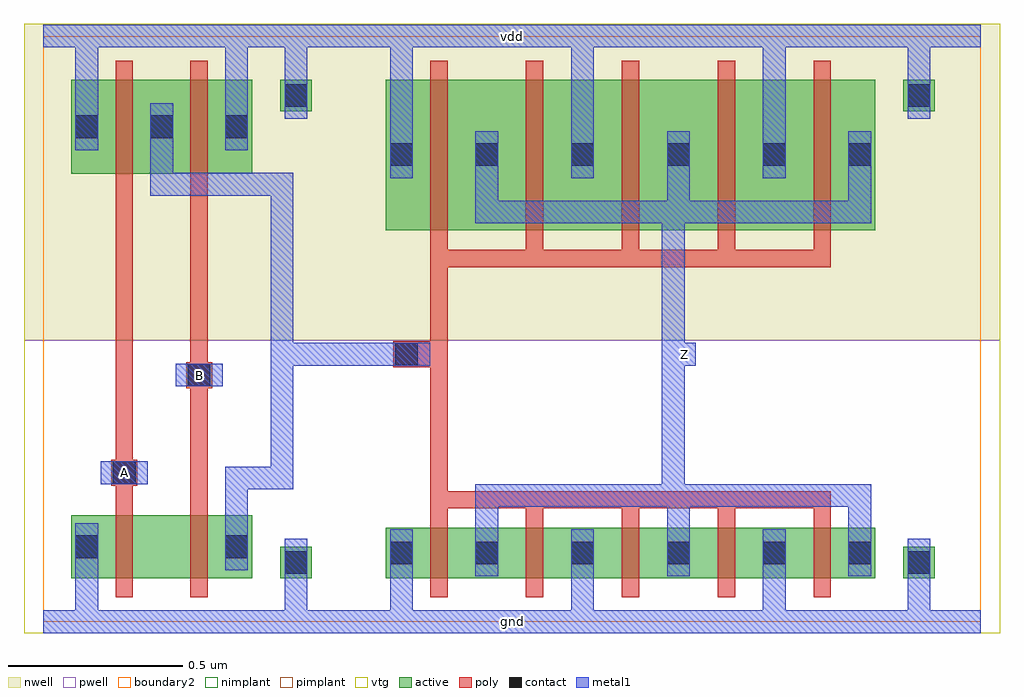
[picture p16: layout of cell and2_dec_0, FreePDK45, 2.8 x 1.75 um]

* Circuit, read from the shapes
.subckt and2_dec_0 A B Z gnd vdd
M1 pnand2_0/nmos_m1_w0_180_sm1_dactive_2/D A gnd gnd nfet w=0.18u l=0.05u
M2 pinv_0_1/A B pnand2_0/nmos_m1_w0_180_sm1_dactive_2/D gnd nfet w=0.18u l=0.05u
M3 Z pinv_0_1/A gnd gnd nfet w=0.145u l=0.05u m=5
M4 pinv_0_1/A A vdd vdd pfet w=0.27u l=0.05u
M5 vdd B pinv_0_1/A vdd pfet w=0.27u l=0.05u
M6 Z pinv_0_1/A vdd vdd pfet w=0.4325u l=0.05u m=5
.ends

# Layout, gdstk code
import gdstk
lib = gdstk.Library(unit=1e-6, precision=5e-10)
def R(c, l, rs):  # rectangles x0, y0, x1, y1
    for r in rs: c.add(gdstk.rectangle(r[:2], r[2:], *l))
def A(c, l, x, y, w, h, nx, ny, dx, dy):  # array of equal rectangles
    R(c, l, [(x+i*dx, y+j*dy, x+i*dx+w, y+j*dy+h) for i in range(nx) for j in range(ny)])
active = (1, 0)
pwell = (2, 0)
nwell = (3, 0)
nimplant = (4, 0)
pimplant = (5, 0)
vtg = (6, 0)
poly = (9, 0)
contact = (10, 0)
metal1 = (11, 0)
boundary2 = (239, 0)

contact_10 = lib.new_cell('contact_10')
R(contact_10, active, [(0,0.0225,0.09,0.1125)])
R(contact_10, nwell, [(-0.055,-0.0325,0.145,0.1675)])
R(contact_10, pimplant, [(0,0.0225,0.09,0.1125)])
R(contact_10, contact, [(0.0125,0.035,0.0775,0.1)])
R(contact_10, metal1, [(0.0125,0,0.0775,0.135)])
R(contact_10, boundary2, [(-0.055,-0.0325,0.145,0.1675)])

pmos_m1_w0_270_sm1_dm1 = lib.new_cell('pmos_m1_w0_270_sm1_dm1')
R(pmos_m1_w0_270_sm1_dm1, active, [(0,0,0.305,0.27)])
R(pmos_m1_w0_270_sm1_dm1, nwell, [(-0.08,-0.08,0.385,0.35)])
R(pmos_m1_w0_270_sm1_dm1, pimplant, [(0,0,0.305,0.27)])
R(pmos_m1_w0_270_sm1_dm1, vtg, [(-0.08,-0.08,0.385,0.35)])
R(pmos_m1_w0_270_sm1_dm1, poly, [(0.1275,-0.055,0.1775,0.325), (0.1275,-0.055,0.1775,0.325)])
R(pmos_m1_w0_270_sm1_dm1, metal1, [(0.0125,0.0675,0.0775,0.2025), (0.2275,0.0675,0.2925,0.2025)])
R(pmos_m1_w0_270_sm1_dm1, boundary2, [(-0.08,-0.08,0.385,0.35)])
pmos_m1_w0_270_sm1_dm1.add(gdstk.Reference(contact_10, (0,0.0675)))
pmos_m1_w0_270_sm1_dm1.add(gdstk.Reference(contact_10, (0.215,0.0675)))
pmos_m1_w0_270_sm1_dm1.add(gdstk.Label('G', (0.1525,0.135), layer=9, texttype=0))
pmos_m1_w0_270_sm1_dm1.add(gdstk.Label('S', (0.045,0.135), layer=11, texttype=0))
pmos_m1_w0_270_sm1_dm1.add(gdstk.Label('D', (0.26,0.135), layer=11, texttype=0))

contact_9 = lib.new_cell('contact_9')
R(contact_9, active, [(0,0.0225,0.09,0.1125)])
R(contact_9, pwell, [(-0.055,-0.0325,0.145,0.1675)])
R(contact_9, nimplant, [(0,0.0225,0.09,0.1125)])
R(contact_9, contact, [(0.0125,0.035,0.0775,0.1)])
R(contact_9, metal1, [(0.0125,0,0.0775,0.135)])
R(contact_9, boundary2, [(-0.055,-0.0325,0.145,0.1675)])

nmos_m1_w0_180_sm1_dacti = lib.new_cell('nmos_m1_w0_180_sm1_dactive')
R(nmos_m1_w0_180_sm1_dacti, active, [(0,0,0.305,0.18), (0.215,0.045,0.305,0.135)])
R(nmos_m1_w0_180_sm1_dacti, pwell, [(-0.08,-0.08,0.385,0.26)])
R(nmos_m1_w0_180_sm1_dacti, nimplant, [(0,0,0.305,0.18)])
R(nmos_m1_w0_180_sm1_dacti, vtg, [(-0.08,-0.08,0.385,0.26)])
R(nmos_m1_w0_180_sm1_dacti, poly, [(0.1275,-0.055,0.1775,0.235), (0.1275,-0.055,0.1775,0.235)])
R(nmos_m1_w0_180_sm1_dacti, metal1, [(0.0125,0.0225,0.0775,0.1575)])
R(nmos_m1_w0_180_sm1_dacti, boundary2, [(-0.08,-0.08,0.385,0.26)])
nmos_m1_w0_180_sm1_dacti.add(gdstk.Reference(contact_9, (0,0.0225)))
nmos_m1_w0_180_sm1_dacti.add(gdstk.Label('G', (0.1525,0.09), layer=9, texttype=0))
nmos_m1_w0_180_sm1_dacti.add(gdstk.Label('S', (0.045,0.09), layer=11, texttype=0))
nmos_m1_w0_180_sm1_dacti.add(gdstk.Label('D', (0.26,0.09), layer=1, texttype=0))

nmos_m1_w0_180_sactive_d = lib.new_cell('nmos_m1_w0_180_sactive_dm1')
R(nmos_m1_w0_180_sactive_d, active, [(0,0,0.305,0.18), (0,0.045,0.09,0.135)])
R(nmos_m1_w0_180_sactive_d, pwell, [(-0.08,-0.08,0.385,0.26)])
R(nmos_m1_w0_180_sactive_d, nimplant, [(0,0,0.305,0.18)])
R(nmos_m1_w0_180_sactive_d, vtg, [(-0.08,-0.08,0.385,0.26)])
R(nmos_m1_w0_180_sactive_d, poly, [(0.1275,-0.055,0.1775,0.235), (0.1275,-0.055,0.1775,0.235)])
R(nmos_m1_w0_180_sactive_d, metal1, [(0.2275,0.0225,0.2925,0.1575)])
R(nmos_m1_w0_180_sactive_d, boundary2, [(-0.08,-0.08,0.385,0.26)])
nmos_m1_w0_180_sactive_d.add(gdstk.Reference(contact_9, (0.215,0.0225)))
nmos_m1_w0_180_sactive_d.add(gdstk.Label('G', (0.1525,0.09), layer=9, texttype=0))
nmos_m1_w0_180_sactive_d.add(gdstk.Label('S', (0.045,0.09), layer=1, texttype=0))
nmos_m1_w0_180_sactive_d.add(gdstk.Label('D', (0.26,0.09), layer=11, texttype=0))

contact_11 = lib.new_cell('contact_11')
R(contact_11, active, [(0,0.0225,0.09,0.1125)])
R(contact_11, nwell, [(-0.055,-0.0325,0.145,0.1675)])
R(contact_11, nimplant, [(0,0.0225,0.09,0.1125)])
R(contact_11, contact, [(0.0125,0.035,0.0775,0.1)])
R(contact_11, metal1, [(0.0125,0,0.0775,0.135)])
R(contact_11, boundary2, [(-0.055,-0.0325,0.145,0.1675)])

contact_12 = lib.new_cell('contact_12')
R(contact_12, active, [(0,0.0225,0.09,0.1125)])
R(contact_12, pwell, [(-0.055,-0.0325,0.145,0.1675)])
R(contact_12, pimplant, [(0,0.0225,0.09,0.1125)])
R(contact_12, contact, [(0.0125,0.035,0.0775,0.1)])
R(contact_12, metal1, [(0.0125,0,0.0775,0.135)])
R(contact_12, boundary2, [(-0.055,-0.0325,0.145,0.1675)])

contact_13 = lib.new_cell('contact_13')
R(contact_13, poly, [(0.03,0,0.105,0.075)])
R(contact_13, contact, [(0.035,0.005,0.1,0.07)])
R(contact_13, metal1, [(0,0.005,0.135,0.07)])
R(contact_13, boundary2, [(0,0,0.135,0.075)])

pnand2 = lib.new_cell('pnand2')
R(pnand2, pwell, [(-0.055,-0.0325,0.9575,0.8075)])
R(pnand2, nwell, [(-0.055,0.8075,0.9575,1.715)])
R(pnand2, vtg, [(-0.055,-0.0325,0.9575,0.8075), (-0.055,0.8075,0.9575,1.715)])
R(pnand2, poly, [(0.2075,0.36,0.2575,1.23), (0.4225,0.36,0.4725,1.23), (0.2075,0.39,0.2325,0.465), (0.4225,0.67,0.4475,0.745)])
R(pnand2, metal1, [(0,-0.0325,0.9025,0.0325), (0.0925,-0.0325,0.1575,0.1475), (0.6925,0,0.7575,0.17), (0.5225,0.2825,0.5875,0.4125), (0.5225,0.38,0.5875,0.445), (0.555,0.38,0.685,0.445), (0.6525,0.38,0.7175,0.445), (0.165,0.395,0.3,0.46), (0.6525,0.4125,0.7175,1.255), (0.38,0.675,0.515,0.74), (0.3075,1.2225,0.3725,1.2875), (0.34,1.2225,0.685,1.2875), (0.6525,1.2225,0.7175,1.2875), (0.3075,1.255,0.3725,1.3525), (0.0925,1.3525,0.1575,1.7125), (0.5225,1.3525,0.5875,1.7125), (0.6925,1.51,0.7575,1.68), (0,1.6475,0.9025,1.7125)])
R(pnand2, boundary2, [(0,0,0.9025,1.68), (0,0,0.9025,1.68)])
pnand2.add(gdstk.Reference(pmos_m1_w0_270_sm1_dm1, (0.08,1.285)))
pnand2.add(gdstk.Reference(pmos_m1_w0_270_sm1_dm1, (0.295,1.285)))
pnand2.add(gdstk.Reference(nmos_m1_w0_180_sm1_dacti, (0.08,0.125)))
pnand2.add(gdstk.Reference(nmos_m1_w0_180_sactive_d, (0.295,0.125)))
pnand2.add(gdstk.Reference(contact_11, (0.68,1.4425)))
pnand2.add(gdstk.Reference(contact_12, (0.68,0.1025)))
pnand2.add(gdstk.Reference(contact_13, (0.165,0.39)))
pnand2.add(gdstk.Reference(contact_13, (0.38,0.67)))
pnand2.add(gdstk.Label('Z', (0.685,1.255), layer=11, texttype=0))
pnand2.add(gdstk.Label('gnd', (0.451,0), layer=11, texttype=0))
pnand2.add(gdstk.Label('vdd', (0.451,1.68), layer=11, texttype=0))
pnand2.add(gdstk.Label('A', (0.2325,0.4275), layer=11, texttype=0))
pnand2.add(gdstk.Label('B', (0.4475,0.7075), layer=11, texttype=0))

pmos_m5_w0_432_sm1_dm1_d = lib.new_cell('pmos_m5_w0_432_sm1_dm1_da_p')
R(pmos_m5_w0_432_sm1_dm1_d, active, [(0,0,1.405,0.4325)])
R(pmos_m5_w0_432_sm1_dm1_d, nwell, [(-0.08,-0.08,1.485,0.5125)])
R(pmos_m5_w0_432_sm1_dm1_d, pimplant, [(0,0,1.405,0.4325)])
R(pmos_m5_w0_432_sm1_dm1_d, vtg, [(-0.08,-0.08,1.485,0.5125)])
A(pmos_m5_w0_432_sm1_dm1_d, poly, 0.1275, -0.055, 0.05, 0.5425, 5, 1, 0.275, 0)
R(pmos_m5_w0_432_sm1_dm1_d, poly, [(0.1275,-0.105,1.2775,-0.055)])
R(pmos_m5_w0_432_sm1_dm1_d, metal1, [(0.2575,0.02,1.3925,0.085), (0.2575,0.05,0.3225,0.215), (0.8075,0.05,0.8725,0.215), (1.3275,0.05,1.3925,0.215), (0.0125,0.15,0.0775,0.285), (0.5325,0.15,0.5975,0.285), (1.0825,0.15,1.1475,0.285)])
R(pmos_m5_w0_432_sm1_dm1_d, boundary2, [(-0.08,-0.105,1.485,0.5125)])
pmos_m5_w0_432_sm1_dm1_d.add(gdstk.Reference(contact_10, (0,0.15)))
pmos_m5_w0_432_sm1_dm1_d.add(gdstk.Reference(contact_10, (0.245,0.15)))
pmos_m5_w0_432_sm1_dm1_d.add(gdstk.Reference(contact_10, (0.52,0.15)))
pmos_m5_w0_432_sm1_dm1_d.add(gdstk.Reference(contact_10, (0.795,0.15)))
pmos_m5_w0_432_sm1_dm1_d.add(gdstk.Reference(contact_10, (1.07,0.15)))
pmos_m5_w0_432_sm1_dm1_d.add(gdstk.Reference(contact_10, (1.315,0.15)))
pmos_m5_w0_432_sm1_dm1_d.add(gdstk.Label('G', (0.7025,-0.08), layer=9, texttype=0))
pmos_m5_w0_432_sm1_dm1_d.add(gdstk.Label('S', (1.115,0.2175), layer=11, texttype=0))
pmos_m5_w0_432_sm1_dm1_d.add(gdstk.Label('S', (0.045,0.2175), layer=11, texttype=0))
pmos_m5_w0_432_sm1_dm1_d.add(gdstk.Label('S', (0.565,0.2175), layer=11, texttype=0))
pmos_m5_w0_432_sm1_dm1_d.add(gdstk.Label('D', (0.825,0.0525), layer=11, texttype=0))

nmos_m5_w0_145_sm1_dm1_d = lib.new_cell('nmos_m5_w0_145_sm1_dm1_da_p')
R(nmos_m5_w0_145_sm1_dm1_d, active, [(0,0,1.405,0.145)])
R(nmos_m5_w0_145_sm1_dm1_d, pwell, [(-0.08,-0.08,1.485,0.225)])
R(nmos_m5_w0_145_sm1_dm1_d, nimplant, [(0,0,1.405,0.145)])
R(nmos_m5_w0_145_sm1_dm1_d, vtg, [(-0.08,-0.08,1.485,0.225)])
A(nmos_m5_w0_145_sm1_dm1_d, poly, 0.1275, -0.055, 0.05, 0.255, 5, 1, 0.275, 0)
R(nmos_m5_w0_145_sm1_dm1_d, poly, [(0.1275,0.2,1.2775,0.25)])
R(nmos_m5_w0_145_sm1_dm1_d, metal1, [(0.0125,0.005,0.0775,0.14), (0.5325,0.005,0.5975,0.14), (1.0825,0.005,1.1475,0.14), (0.2575,0.0725,0.3225,0.2375), (0.8075,0.0725,0.8725,0.2375), (1.3275,0.0725,1.3925,0.2375), (0.2575,0.205,1.3925,0.27)])
R(nmos_m5_w0_145_sm1_dm1_d, boundary2, [(-0.08,-0.08,1.485,0.27)])
nmos_m5_w0_145_sm1_dm1_d.add(gdstk.Reference(contact_9, (0,0.005)))
nmos_m5_w0_145_sm1_dm1_d.add(gdstk.Reference(contact_9, (0.245,0.005)))
nmos_m5_w0_145_sm1_dm1_d.add(gdstk.Reference(contact_9, (0.52,0.005)))
nmos_m5_w0_145_sm1_dm1_d.add(gdstk.Reference(contact_9, (0.795,0.005)))
nmos_m5_w0_145_sm1_dm1_d.add(gdstk.Reference(contact_9, (1.07,0.005)))
nmos_m5_w0_145_sm1_dm1_d.add(gdstk.Reference(contact_9, (1.315,0.005)))
nmos_m5_w0_145_sm1_dm1_d.add(gdstk.Label('G', (0.7025,0.225), layer=9, texttype=0))
nmos_m5_w0_145_sm1_dm1_d.add(gdstk.Label('S', (0.045,0.0725), layer=11, texttype=0))
nmos_m5_w0_145_sm1_dm1_d.add(gdstk.Label('S', (0.565,0.0725), layer=11, texttype=0))
nmos_m5_w0_145_sm1_dm1_d.add(gdstk.Label('S', (1.115,0.0725), layer=11, texttype=0))
nmos_m5_w0_145_sm1_dm1_d.add(gdstk.Label('D', (0.825,0.2375), layer=11, texttype=0))

pinv_0 = lib.new_cell('pinv_0')
R(pinv_0, pwell, [(-0.055,-0.0325,1.8425,0.8075)])
R(pinv_0, nwell, [(-0.055,0.8075,1.8425,1.715)])
R(pinv_0, vtg, [(-0.055,-0.0325,1.8425,0.8075), (-0.055,0.8075,1.8425,1.715)])
R(pinv_0, poly, [(0.2075,0.375,0.2575,1.0175), (0.14,0.73,0.2075,0.805)])
R(pinv_0, metal1, [(0,-0.0325,1.7875,0.0325), (0.0925,-0.0325,0.1575,0.13), (0.6125,-0.0325,0.6775,0.13), (1.1625,-0.0325,1.2275,0.13), (1.5775,0,1.6425,0.17), (0.8725,0.33,0.9375,1.2075), (0.0725,0.735,0.2075,0.8), (0.905,0.735,0.97,0.8), (0.0925,1.2725,0.1575,1.7125), (0.6125,1.2725,0.6775,1.7125), (1.1625,1.2725,1.2275,1.7125), (1.5775,1.51,1.6425,1.68), (0,1.6475,1.7875,1.7125)])
R(pinv_0, boundary2, [(0,0,1.7875,1.68), (0,0,1.7875,1.68)])
pinv_0.add(gdstk.Reference(pmos_m5_w0_432_sm1_dm1_d, (0.08,1.1225)))
pinv_0.add(gdstk.Reference(nmos_m5_w0_145_sm1_dm1_d, (0.08,0.125)))
pinv_0.add(gdstk.Reference(contact_11, (1.565,1.4425)))
pinv_0.add(gdstk.Reference(contact_12, (1.565,0.1025)))
pinv_0.add(gdstk.Reference(contact_13, (0.0725,0.73)))
pinv_0.add(gdstk.Label('A', (0.14,0.7675), layer=11, texttype=0))
pinv_0.add(gdstk.Label('Z', (0.9375,0.7675), layer=11, texttype=0))
pinv_0.add(gdstk.Label('gnd', (0.894,0), layer=11, texttype=0))
pinv_0.add(gdstk.Label('vdd', (0.894,1.68), layer=11, texttype=0))

and2_dec_0 = lib.new_cell('and2_dec_0')
R(and2_dec_0, metal1, [(0,-0.0325,2.69,0.0325), (0.165,0.395,0.3,0.46), (0.38,0.675,0.515,0.74), (0.6525,0.735,0.7175,0.8), (0.685,0.735,1.0425,0.8), (1.8075,0.735,1.8725,0.8), (0.6525,0.7675,0.7175,1.255), (0,1.6475,2.69,1.7125)])
R(and2_dec_0, boundary2, [(0,0,2.69,1.68)])
and2_dec_0.add(gdstk.Reference(pnand2, (0,0)))
and2_dec_0.add(gdstk.Reference(pinv_0, (0.9025,0)))
and2_dec_0.add(gdstk.Label('Z', (1.84,0.7675), layer=11, texttype=0))
and2_dec_0.add(gdstk.Label('A', (0.2325,0.4275), layer=11, texttype=0))
and2_dec_0.add(gdstk.Label('B', (0.4475,0.7075), layer=11, texttype=0))
and2_dec_0.add(gdstk.Label('gnd', (1.345,0), layer=11, texttype=0))
and2_dec_0.add(gdstk.Label('vdd', (1.345,1.68), layer=11, texttype=0))

lib.write_gds('and2_dec_0.gds')
